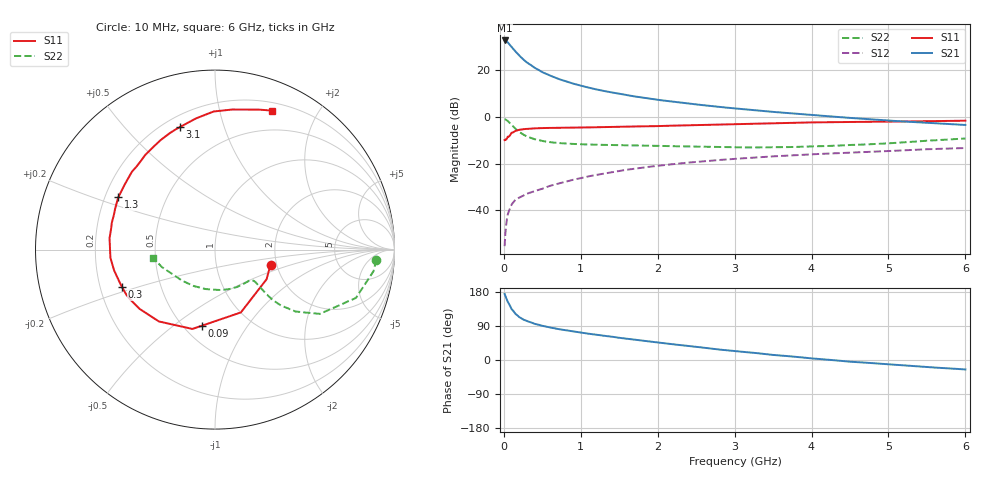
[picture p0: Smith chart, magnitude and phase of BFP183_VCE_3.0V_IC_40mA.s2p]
! Infineon Technologies  Discrete & RF Semiconductors
! BFP183
! VCE = 3.0 V,  IC =  40 mA
! Common Emitter S-Parameters:  Jan 2016
# GHz  S  MA  R  50
!  f  S11  S21  S12  S22
! GHz  MAG  ANG  MAG  ANG  MAG  ANG  MAG  ANG
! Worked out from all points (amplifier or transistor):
!   210 points, 10 MHz to 6 GHz, reference 50 ohm
!   highest |S21| = 32.9 dB at 10 MHz (marker M1)
!   |S21| within 3 dB of that: start of sweep to 107.6 MHz
!   unconditionally stable (mu >= 1): start of sweep to 11.89 MHz; 438 MHz to end of sweep
!   at 185 MHz: K = 0.62, MSG = 30.9 dB, |S12| = -34.8 dB
!   at 1.52 GHz: K = 1.27, MAG = 13.3 dB, |S12| = -23.0 dB
!   at 6 GHz: K = 1.00, MAG = 4.5 dB, |S12| = -13.3 dB
!   S11 on the Smith chart (normalised r, x): 10 MHz: 1.85, -0.35; 90 MHz: 0.61, -0.64; 300 MHz: 0.29, -0.18; 1.3 GHz: 0.25, +0.24; 3.1 GHz: 0.26, +0.72; 6 GHz: 0.28, +1.45
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0.01  0.3205 -15.2  44.09 174.4  0.0017 82.9  0.9009 -3.6
0.02  0.3315 -29.9  43.74 169.2  0.0032 79.4  0.8915 -7.7
0.05  0.3785 -67.6  40.46 153.7  0.008 72.7  0.8304 -18.9
0.09  0.4297 -99.6  33.58 139.1  0.0122 59.1  0.7112 -28.6
0.1  0.4597 -105.9  32.29 134.6  0.0133 57.1  0.6852 -31.5
0.15  0.5079 -128.0  25.7 121.9  0.0167 51.9  0.5652 -37.6
0.195  0.5303 -140.5  21.31 114.2  0.0185 51.6  0.4892 -40.0
0.2  0.5343 -141.8  20.85 113.2  0.0187 51.6  0.4808 -40.3
0.24  0.5482 -149.5  18.05 108.4  0.0201 51.8  0.4354 -41.0
0.3  0.5593 -158.2  14.87 102.5  0.0227 51.9  0.3834 -40.9
0.4  0.5739 -168.3  11.44 95.4  0.0258 53.6  0.3352 -40.1
0.5  0.5845 -175.5  9.206 90.2  0.029 54.9  0.3063 -39.3
0.6  0.5856 178.6  7.79 85.7  0.0335 57.3  0.2894 -38.8
0.7  0.591 173.8  6.663 81.9  0.0372 58.7  0.2784 -38.8
0.8  0.5898 169.4  5.885 78.6  0.0408 59.2  0.271 -39.2
1.02  0.5964 160.6  4.623 71.8  0.0498 59.7  0.2603 -41.1
1.3  0.6127 151.6  3.629 64.0  0.0613 59.1  0.2535 -45.3
2.02  0.6419 130.7  2.325 45.8  0.0908 54.1  0.2414 -59.7
3.1  0.7103 105.9  1.485 21.7  0.1302 44.1  0.2233 -90.4
4.1  0.7717 89.1  1.08 2.7  0.1619 34.5  0.237 -123.8
5.1  0.8019 76.6  0.823 -12.7  0.1901 26.2  0.28 -152.6
6  0.8367 67.8  0.678 -25.0  0.217 17.3  0.3479 -172.4
